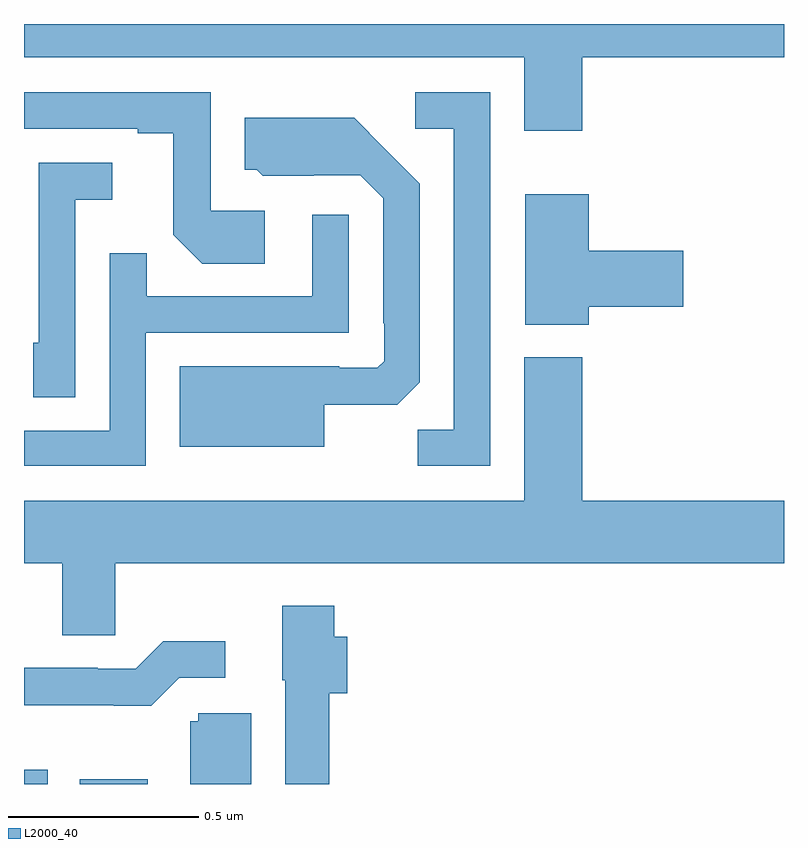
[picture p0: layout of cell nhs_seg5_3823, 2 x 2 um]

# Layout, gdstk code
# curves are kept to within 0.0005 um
import gdstk
lib = gdstk.Library(unit=1e-6, precision=1e-09)
def R(c, l, rs):  # rectangles x0, y0, x1, y1
    for r in rs: c.add(gdstk.rectangle(r[:2], r[2:], *l))
def P(c, l, *ps):  # polygons
    for p in ps: c.add(gdstk.Polygon(p, *l))
L2000_40 = (2000, 40)

nhs_seg5_3823 = lib.new_cell('nhs_seg5_3823')
R(nhs_seg5_3823, L2000_40, [(162,902.799,162.062,902.836), (162.147,902.799,162.325,902.812)])
P(nhs_seg5_3823, L2000_40, [(163.469,904.712),(164,904.712),(164,904.799),(162,904.799),(162,904.712),(163.316,904.712),(163.316,904.518),(163.469,904.518)],
  [(163.227,904.62),(163.029,904.62),(163.029,904.524),(163.131,904.524),(163.131,903.731),(163.036,903.731),(163.036,903.636),(163.227,903.636)],
  [(162.634,904.308),(162.492,904.308),(162.492,904.62),(162,904.62),(162,904.524),(162.299,904.524),(162.299,904.512),(162.393,904.512),(162.393,904.244),(162.469,904.168),(162.634,904.168)],
  [(162.79,903.797),(162.982,903.797),(163.041,903.856),(163.041,904.378),(162.869,904.552),(162.581,904.552),(162.581,904.416),(162.612,904.416),(162.628,904.4),(162.762,904.4),(162.762,904.401),(162.885,904.401),(162.945,904.341),(162.945,904.012),(162.948,904.012),(162.948,903.912),(162.93,903.894),(162.83,903.894),(162.83,903.898),(162.41,903.898),(162.41,903.686),(162.79,903.686)],
  [(162.135,904.337),(162.232,904.337),(162.232,904.434),(162.039,904.434),(162.039,903.96),(162.024,903.96),(162.024,903.817),(162.135,903.817)],
  [(163.486,904.055),(163.735,904.055),(163.735,904.202),(163.486,904.202),(163.486,904.351),(163.319,904.351),(163.319,904.007),(163.486,904.007)],
  [(162.321,903.987),(162.855,903.987),(162.855,904.297),(162.759,904.297),(162.759,904.083),(162.323,904.083),(162.323,904.196),(162.225,904.196),(162.225,903.729),(162,903.729),(162,903.636),(162.321,903.636)],
  [(162.24,903.38),(164,903.38),(164,903.544),(163.469,903.544),(163.469,903.922),(163.316,903.922),(163.316,903.544),(162,903.544),(162,903.38),(162.101,903.38),(162.101,903.19),(162.24,903.19)],
  [(162.803,903.038),(162.851,903.038),(162.851,903.186),(162.816,903.186),(162.816,903.268),(162.68,903.268),(162.68,903.072),(162.687,903.072),(162.687,902.799),(162.803,902.799)],
  [(162.408,903.078),(162.529,903.078),(162.529,903.175),(162.367,903.175),(162.294,903.102),(162.194,903.102),(162.194,903.105),(162,903.105),(162,903.006),(162.236,903.006),(162.236,903.005),(162.335,903.005)],
  [(162.598,902.985),(162.459,902.985),(162.459,902.964),(162.437,902.964),(162.437,902.799),(162.598,902.799)])

lib.write_gds('nhs_seg5_3823.gds')
